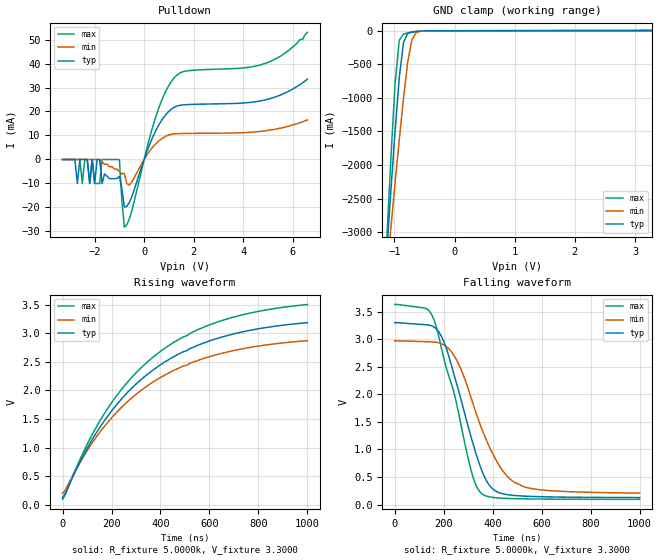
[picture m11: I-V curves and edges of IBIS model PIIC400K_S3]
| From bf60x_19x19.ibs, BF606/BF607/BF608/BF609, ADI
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[Model]  PIIC400K_S3
Model_type I/O_open_drain
Polarity   Non-Inverting
Enable   Active-Low
Vinl =   0.9900V
Vinh =   2.3100V
Vmeas =  1.6500V
Cref =   50.0000pF
Rref =   5.0000k
Vref =   3.3000V
C_comp   5.3246pF   5.6155pF   5.1879pF
[Temperature Range]   25.0000   0.1250k   -40.0000
[Voltage Range]   3.3000V   2.9700V   3.6300V
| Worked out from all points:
|   slope of the pulldown table from 0 to 0.495 V, typ, clamps not added: 39.6 ohm
|   rising waveform, R_fixture 5.0000k, V_fixture 3.3000: 20-80 % time 377ns typ, 377ns min, 378ns max; typ from 0.123 V to 3.19 V
|   falling waveform, R_fixture 5.0000k, V_fixture 3.3000: 20-80 % time 121ns typ, 145ns min, 115ns max; typ from 3.3 V to 0.126 V
[Pulldown]
|Voltage   I(typ)   I(min)   I(max)
-3.3V     0A         0A         0A
-2.7V     -10mA      0A         0A
-2.5V     0A         0A         -10mA
-2.4V     0A         0A         0A
-2.2V     -10mA      0A         -10mA
-2.1V     0A         0A         0A
-2V       -10mA      0A         -10mA
-1.9V     0A         0A         -10mA
-1V       -7mA       -5mA       -100uA
-800mV    -19.82mA   -5.8mA     -28.21mA
1.2V      21.65mA    10.66mA    33.86mA
6.6V      33.5mA     16.5mA     53mA
[GND_clamp]
|Voltage   I(typ)   I(min)   I(max)
-3.3V     -34.11A    -25.89A    -45.77A
-1.13V    -3.31A     -3.618A    -3.151A
-1.06V    -2.387A    -2.937A    -1.914A
-990mV    -1.503A    -2.269A    -790.6mA
-920mV    -699.7mA   -1.622A    -145.2mA
-850mV    -182mA     -1.01A     -52.38mA
-780mV    -42.03mA   -468.2mA   -36.08mA
-710mV    -20.83mA   -136mA     -24.89mA
-640mV    -13.21mA   -32.47mA   -15.66mA
-570mV    -8.104mA   -10.93mA   -8.885mA
3.28V     -18.57uA   287.9uA    -325.1uA
[Ramp]
| variable   typ   min   max
dV/dt_r  1.8395/0.3781u   1.6055/0.3776u   2.0475/0.3783u
dV/dt_f  1.9044/0.1213u   1.6573/0.1454u   2.1215/0.1154u
R_load = 5.0000k
[Rising Waveform]
R_fixture= 5.0000k
V_fixture= 3.3000
V_fixture_min= 2.9700
V_fixture_max= 3.6300
|time   V(typ)   V(min)   V(max)
0s        123.2mV    197.1mV    93.51mV
10.1ns    187.4mV    247.6mV    168.2mV
100ns     983.6mV    943.6mV    1.054V
170ns     1.464V     1.365V     1.589V
260ns     1.941V     1.783V     2.119V
370ns     2.36V      2.149V     2.585V
490ns     2.672V     2.423V     2.931V
640ns     2.922V     2.64V      3.21V
790ns     3.073V     2.772V     3.378V
1us       3.189V     2.873V     3.506V
[Falling Waveform]
R_fixture= 5.0000k
V_fixture= 3.3000
V_fixture_min= 2.9700
V_fixture_max= 3.6300
|time   V(typ)   V(min)   V(max)
0s        3.3V       2.97V      3.63V
150ns     3.245V     2.952V     3.456V
200ns     2.964V     2.899V     2.661V
250ns     2.238V     2.644V     1.888V
320ns     1.1V       1.828V     495.6mV
360ns     568.2mV    1.322V     181.6mV
390ns     329.6mV    1.014V     136.5mV
440ns     197.3mV    619mV      114.9mV
520ns     154.5mV    334.6mV    103.7mV
1us       126mV      207.9mV    94.21mV
